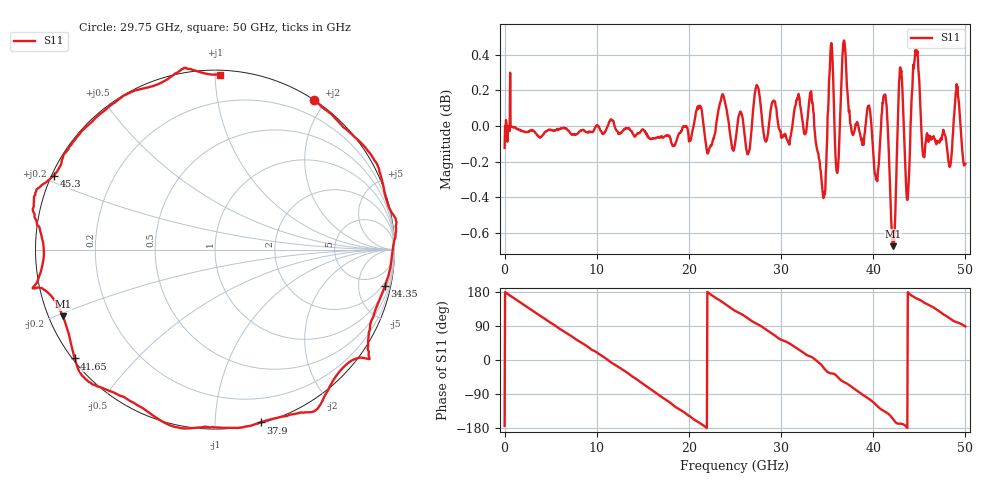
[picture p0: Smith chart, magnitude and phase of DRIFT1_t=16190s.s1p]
!Created with skrf (http://scikit-rf.org).
# Hz S RI R 50.0
!freq ReS11 ImS11
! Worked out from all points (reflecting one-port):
!   1001 points, 300 kHz to 50 GHz, reference 50 ohm
!   lowest |S11| = -0.7 dB at 42.15 GHz (marker M1), VSWR 25.80, Z = 2.02 - j10.5 ohm
!   phase of S11 starts at -174 deg and turns -817 deg over the sweep
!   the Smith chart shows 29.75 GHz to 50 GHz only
!   S11 on the Smith chart (normalised r, x): 29.75 GHz: 0.00, +1.86; 34.35 GHz: 1.40, -9.19; 37.9 GHz: 0.01, -1.30; 41.65 GHz: 0.01, -0.34; 45.3 GHz: 0.01, +0.22; 50 GHz: 0.03, +1.03
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300000  -0.9805 -0.1032
1.500291e9  -0.9058 0.4184
3.25028e9  -0.5917 0.8016
6.250262e9  0.2025 0.9778
9.500243e9  0.8927 0.4417
1.250022e10  0.9319 -0.3492
1.580021e10  0.2369 -0.9629
1.74002e10  -0.2235 -0.968
1.875019e10  -0.5983 -0.7917
2.150017e10  -0.994 -0.15
2.350016e10  -0.923 0.4284
2.500015e10  -0.6331 0.7589
2.740014e10  -0.0949 1.022
2.975012e10  0.5505 0.8332
3.125011e10  0.7863 0.62
3.31501e10  1.007 0.172
3.435009e10  0.9468 -0.2037
3.520009e10  0.8571 -0.5686
3.750008e10  0.3697 -0.9311
3.790007e10  0.2547 -0.9628
3.960006e10  -0.2387 -0.9828
4.165005e10  -0.7819 -0.6064
4.215005e10  -0.8477 -0.3712
4.290004e10  -1.015 -0.2163
4.375004e10  -0.9549 0.0138
4.530003e10  -0.898 0.4125
4.770001e10  -0.4884 0.8677
5e10  0.0252 0.9756
